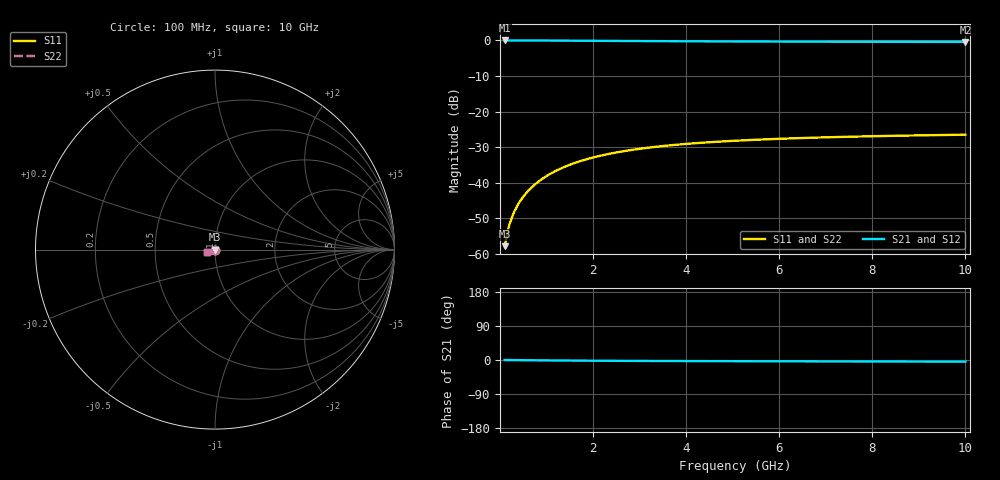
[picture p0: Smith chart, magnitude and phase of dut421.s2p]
! Touchstone file exported from HFSS 2024.1.0
!  File:  C:/UserFiles/LocalFiles/RDL_TSV_Batchsim/temp_TSV1_421_1779693326.aedt
!  Generated:  03:20:48 PM May 25, 2026
!  Design:  TSV1
!  Project:  temp_TSV1_421_1779693326
!  Setup:  Setup1
!  Solution:  Sweep
! Variables:
!  dtsv = 12.27um
!  hbump = 3um
!  htsv = 66.8um
!  lrdl = 252.1521522um
!  p = 40
!  p1 = 45.58um
!  t = 500um
!  trdl = 3um
!  wrdl = 24.89489489um
# GHz S MA R 50.000000
! Terminal data exported
! Port[1] = TSV22_T1
! Port[2] = TSV22_T2
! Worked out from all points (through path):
!   100 points, 100 MHz to 10 GHz, reference 50 ohm
!   highest |S21| = 0.00 dB at 100 MHz (marker M1); lowest = -0.4 dB at 10 GHz (marker M2)
!   lowest |S11| = -57.8 dB at 100 MHz (marker M3), VSWR 1.00, Z = 50 - j0.128 ohm
!   |S11| at or under -10 dB: start of sweep to end of sweep
!   |S22| runs from -57.8 to -26.5 dB; largest |S21 - S12| = 2.1e-15
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0.1  0.001281 -87.7  0.9999 -0.1  0.9999 -0.1  0.001281 -87.7
! Gamma 0 0 0 0
! Port Impedance 50 0 50 0
0.2  0.002557 -91.3  0.9998 -0.2  0.9998 -0.2  0.002557 -91.3
0.3  0.00383 -93.6  0.9996 -0.3  0.9996 -0.3  0.00383 -93.6
0.4  0.005097 -95.5  0.9993 -0.4  0.9993 -0.4  0.005097 -95.5
0.5  0.006355 -97.3  0.999 -0.6  0.999 -0.6  0.006355 -97.3
0.6  0.0076 -99.0  0.9986 -0.7  0.9986 -0.7  0.0076 -99.0
0.7  0.00883 -100.6  0.9981 -0.8  0.9981 -0.8  0.00883 -100.6
0.8  0.01004 -102.2  0.9976 -0.9  0.9976 -0.9  0.01004 -102.2
0.9  0.01123 -103.7  0.9971 -1.0  0.9971 -1.0  0.01123 -103.7
1.1  0.01354 -106.7  0.9958 -1.2  0.9958 -1.2  0.01354 -106.7
1.4  0.01682 -111.0  0.9936 -1.4  0.9936 -1.4  0.01682 -111.0
1.6  0.01886 -113.7  0.9921 -1.6  0.9921 -1.6  0.01886 -113.7
1.8  0.02079 -116.3  0.9905 -1.7  0.9905 -1.7  0.02079 -116.3
2.1  0.02345 -120.0  0.988 -1.9  0.988 -1.9  0.02345 -120.0
2.5  0.02661 -124.5  0.9848 -2.2  0.9848 -2.2  0.02661 -124.5
2.9  0.02934 -128.5  0.9816 -2.4  0.9816 -2.4  0.02934 -128.5
3.4  0.03224 -133.0  0.978 -2.6  0.978 -2.6  0.03224 -133.1
4.2  0.03593 -139.1  0.9728 -2.9  0.9728 -2.9  0.03593 -139.1
5.1  0.03904 -144.7  0.968 -3.2  0.968 -3.2  0.03904 -144.7
6.7  0.04288 -152.3  0.9618 -3.6  0.9618 -3.6  0.04288 -152.4
8.4  0.04555 -158.5  0.9573 -4.0  0.9573 -4.0  0.04555 -158.5
10  0.04729 -163.2  0.9543 -4.4  0.9543 -4.4  0.04729 -163.2
